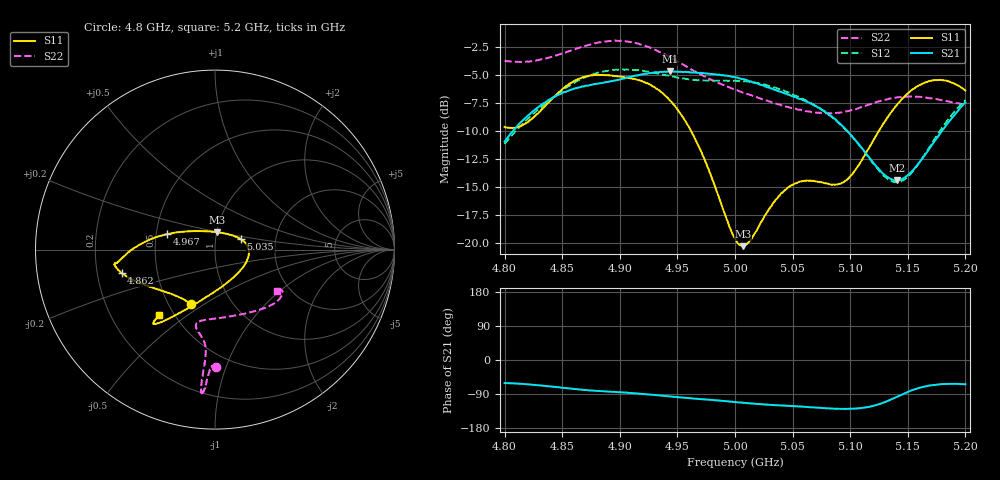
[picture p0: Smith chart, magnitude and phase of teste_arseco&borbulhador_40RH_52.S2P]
! Network Analyzer HP8722D
! Hewlett-Packard
! Data name: Linha & Wilkinson
! Saver's name: Rodrigo Anjos
! Comments: Teste da utilização de aquisição
! continua pelo VNA HP8722D
! Time and date: 15/4/2025 16:47
!  Frequency  S11  S21  S12  S22
# HZ  S  MA R 50
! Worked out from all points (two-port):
!   401 points, 4.8 GHz to 5.2 GHz, reference 50 ohm
!   highest |S21| = -4.63 dB at 4.944 GHz (marker M1); lowest = -14.4 dB at 5.141 GHz (marker M2)
!   |S21| within 3 dB of the highest: 4.832 GHz to 5.068 GHz (236.2 MHz wide, 4.77 % of centre); 5.198078 GHz to end of sweep
!   lowest |S11| = -20.3 dB at 5.007 GHz (marker M3), VSWR 1.22, Z = 50.4 + j9.79 ohm
!   |S11| at or under -10 dB: 4.962 GHz to 5.125 GHz (162.6 MHz wide, 3.22 % of centre)
!   |S22| runs from -8.4 to -1.9 dB; largest |S21 - S12| = 0.88
!   S11 on the Smith chart (normalised r, x): 4.8 GHz: 0.65, -0.44; 4.862 GHz: 0.31, -0.11; 4.967 GHz: 0.57, +0.11; 5.035 GHz: 1.33, +0.16; 5.2 GHz: 0.41, -0.39
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4.8e9  0.3311 -114.0  0.2847 -60.9  0.2776 -175.2  0.6548 -89.7
4.819e9  0.3455 -133.9  0.3663 -63.9  0.3554 -173.5  0.649 -91.3
4.862e9  0.536 -166.0  0.4939 -76.9  0.5274 -176.6  0.7404 -93.6
4.867e9  0.5491 -167.8  0.5018 -78.5  0.5432 -177.6  0.754 -93.9
4.9e9  0.5566 -172.3  0.54 -85.1  0.5975 175.7  0.802 -95.3
4.934e9  0.4831 -178.3  0.5805 -93.4  0.5727 171.9  0.7174 -95.7
4.944e9  0.4326 177.4  0.5867 -96.2  0.5582 171.8  0.6766 -95.5
4.967e9  0.2819 162.2  0.5777 -102.4  0.5349 173.9  0.5794 -95.1
5e9  0.1054 105.9  0.552 -110.9  0.5338 176.4  0.4854 -99.4
5.007e9  0.09711 81.9  0.5408 -112.7  0.5287 176.3  0.4709 -101.0
5.014e9  0.104 59.6  0.5287 -114.7  0.5263 176.1  0.4597 -102.5
5.035e9  0.156 21.8  0.4849 -119.2  0.4961 174.9  0.4222 -103.9
5.05e9  0.1827 6.3  0.4546 -121.7  0.4638 174.3  0.4021 -100.4
5.067e9  0.1899 -12.2  0.4187 -124.8  0.4209 173.7  0.3851 -91.7
5.086e9  0.1829 -42.7  0.3614 -128.4  0.3598 173.8  0.3807 -77.6
5.097e9  0.1918 -65.8  0.3193 -129.1  0.3181 174.5  0.3886 -68.3
5.134e9  0.375 -116.5  0.1952 -106.2  0.1919 -159.0  0.4431 -43.4
5.141e9  0.418 -120.4  0.1913 -96.5  0.1876 -148.0  0.449 -40.2
5.152e9  0.4769 -124.8  0.2058 -81.7  0.2026 -130.9  0.4526 -36.3
5.17e9  0.5323 -128.9  0.2702 -66.9  0.2751 -112.9  0.4446 -32.2
5.184e9  0.5313 -130.1  0.341 -63.2  0.3515 -107.3  0.4317 -31.2
5.2e9  0.4811 -130.6  0.4254 -64.1  0.437 -106.2  0.4156 -33.5
